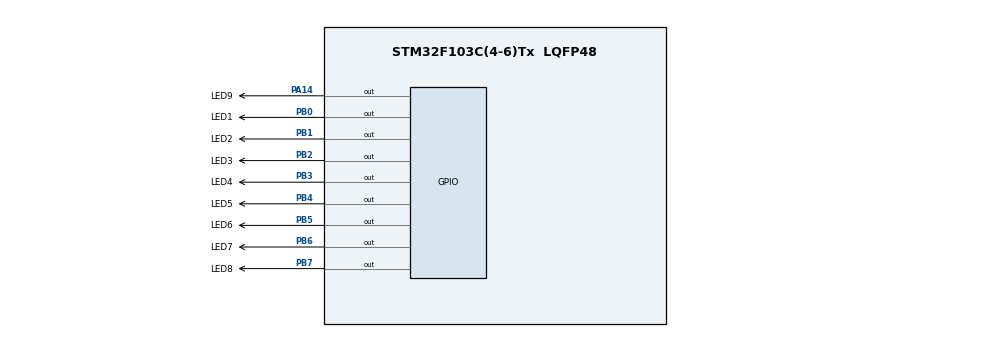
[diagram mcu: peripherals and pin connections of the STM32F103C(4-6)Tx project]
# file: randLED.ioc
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Mcu.Family=STM32F1
Mcu.Name=STM32F103C(4-6)Tx
Mcu.Package=LQFP48
Mcu.UserConstants=LIGHT_TIME,300;MODE_TIME,15000
NVIC.PriorityGroup=NVIC_PRIORITYGROUP_4
NVIC.TIM1_UP_IRQn=true\:0\:0\:false\:false\:true\:true\:true
NVIC.TIM2_IRQn=true\:0\:0\:false\:false\:true\:true\:true
PA14.GPIO_Label=LED9
PA14.PinState=GPIO_PIN_SET
PA14.Signal=GPIO_Output
PB0.GPIO_Label=LED1
PB0.PinState=GPIO_PIN_SET
PB0.Signal=GPIO_Output
PB1.GPIO_Label=LED2
PB1.PinState=GPIO_PIN_SET
PB1.Signal=GPIO_Output
PB2.GPIO_Label=LED3
PB2.PinState=GPIO_PIN_SET
PB2.Signal=GPIO_Output
PB3.GPIO_Label=LED4
PB3.PinState=GPIO_PIN_SET
PB3.Signal=GPIO_Output
PB4.GPIO_Label=LED5
PB4.PinState=GPIO_PIN_SET
PB4.Signal=GPIO_Output
PB5.GPIO_Label=LED6
PB5.PinState=GPIO_PIN_SET
PB5.Signal=GPIO_Output
PB6.GPIO_Label=LED7
PB6.PinState=GPIO_PIN_SET
PB6.Signal=GPIO_Output
PB7.GPIO_Label=LED8
PB7.PinState=GPIO_PIN_SET
PB7.Signal=GPIO_Output
ProjectManager.HeapSize=0x200
ProjectManager.StackSize=0x400
ProjectManager.TargetToolchain=MDK-ARM V5.32
RCC.APB1Freq_Value=8000000
RCC.APB2Freq_Value=8000000
TIM1.Period=LIGHT_TIME
TIM1.Prescaler=8000000/1000+1
TIM2.Period=MODE_TIME
TIM2.Prescaler=8000000/1000+1
VP_SYS_VS_ND.Mode=No_Debug
VP_TIM1_VS_ClockSourceINT.Mode=Internal
VP_TIM2_VS_ClockSourceINT.Mode=Internal
board=custom

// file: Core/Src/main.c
/* USER CODE BEGIN Header */
/**
  ******************************************************************************
  * @file           : main.c
  * @brief          : Main program body
  ******************************************************************************
  * @attention
  *
  * Copyright (c) 2022 STMicroelectronics.
  * All rights reserved.
  *
  * This software is licensed under terms that can be found in the LICENSE file
  * in the root directory of this software component.
  * If no LICENSE file comes with this software, it is provided AS-IS.
  *
  ******************************************************************************
  */
/* USER CODE END Header */
#include "main.h"

/* USER CODE BEGIN Includes */
#include "stdlib.h"

/* USER CODE END Includes */

/* USER CODE BEGIN PTD */
typedef struct
{
	GPIO_TypeDef *Port;
  uint32_t Pin;       /*!< Specifies the GPIO pins to be configured.
                           This parameter can be any value of @ref GPIO_pins_define */
}LED;

/* USER CODE END PTD */

/* USER CODE BEGIN PD */
#define led1 {LED1_GPIO_Port,LED1_Pin}
#define led2 {LED2_GPIO_Port,LED2_Pin}
#define led3  {LED3_GPIO_Port,LED3_Pin}
#define led4  {LED4_GPIO_Port,LED4_Pin}
#define led5  {LED5_GPIO_Port,LED5_Pin}
#define led6  {LED6_GPIO_Port,LED6_Pin}
#define led7  {LED7_GPIO_Port,LED7_Pin}
#define led8  {LED8_GPIO_Port,LED8_Pin}
#define led9  {LED9_GPIO_Port,LED9_Pin}
#define LIGHT_TIME 700

/* USER CODE END PD */

TIM_HandleTypeDef htim1;
TIM_HandleTypeDef htim2;

/* USER CODE BEGIN PV */
//LED led1 = {LED1_GPIO_Port,LED1_Pin};
//LED led2 = {LED2_GPIO_Port,LED2_Pin};
// LED led3 = {LED3_GPIO_Port,LED3_Pin};
// LED led4 = {LED4_GPIO_Port,LED4_Pin};
// LED led5 = {LED5_GPIO_Port,LED5_Pin};
// LED led6 = {LED6_GPIO_Port,LED6_Pin};
// LED led7 = {LED7_GPIO_Port,LED7_Pin};
// LED led8 = {LED8_GPIO_Port,LED8_Pin};
//LED led9 = {LED9_GPIO_Port,LED9_Pin};
// int lightmodelist[3][8]={{1,9,4,5,6,7,1,2},{1,2,2,6,3,9,2,7},{4,5,6,2,8,6,4,5}};

// LED ledlist[] = {led1,led2,led3,led4,led5,led6,led7,led8,led9};
LED ledlist[] = {led1,led2,led3,led4,led5,led6,led7,led8,led9};
int lightmodelist[3][8]={{1,9,4,5,6,7,1,2},{1,2,2,6,3,9,2,7},{4,5,6,2,8,6,4,5}};
int lightmodeindex = 0;
// int mode[] = {1,3,4,6,7,8,9};
int modeindex = 0;
int i=0;
/* USER CODE END PV */

void SystemClock_Config(void);
static void MX_GPIO_Init(void);
static void MX_TIM1_Init(void);
static void MX_TIM2_Init(void);

int main(void)
{

  /* MCU Configuration--------------------------------------------------------*/

  /* Reset of all peripherals, Initializes the Flash interface and the Systick. */
  HAL_Init();

  /* Configure the system clock */
  SystemClock_Config();

  /* Initialize all configured peripherals */
  MX_GPIO_Init();
  MX_TIM1_Init();
  MX_TIM2_Init();
  /* USER CODE BEGIN 2 */
	HAL_TIM_Base_Start_IT(&htim1);
	HAL_TIM_Base_Start_IT(&htim2);

  /* USER CODE END 2 */

  /* Infinite loop */
  /* USER CODE BEGIN WHILE */

	i = rand()%(sizeof(ledlist)/sizeof(ledlist[0]));
  while (1)
  {
		// HAL_GPIO_WritePin(ledlist[i].Port, ledlist[i].Pin, GPIO_PIN_RESET);
		// HAL_Delay(LIGHT_TIME);
		// HAL_GPIO_WritePin(ledlist[i].Port, ledlist[i].Pin, GPIO_PIN_SET);
		// i = rand()%(sizeof(ledlist)/sizeof(ledlist[0]));

    /* USER CODE END WHILE */

  }
}

void SystemClock_Config(void)
{
  RCC_OscInitTypeDef RCC_OscInitStruct = {0};
  RCC_ClkInitTypeDef RCC_ClkInitStruct = {0};

  /** Initializes the RCC Oscillators according to the specified parameters
  * in the RCC_OscInitTypeDef structure.
  */
  RCC_OscInitStruct.OscillatorType = RCC_OSCILLATORTYPE_HSI;
  RCC_OscInitStruct.HSIState = RCC_HSI_ON;
  RCC_OscInitStruct.HSICalibrationValue = RCC_HSICALIBRATION_DEFAULT;
  RCC_OscInitStruct.PLL.PLLState = RCC_PLL_NONE;
  if (HAL_RCC_OscConfig(&RCC_OscInitStruct) != HAL_OK)
  {
    Error_Handler();
  }
  /** Initializes the CPU, AHB and APB buses clocks
  */
  RCC_ClkInitStruct.ClockType = RCC_CLOCKTYPE_HCLK|RCC_CLOCKTYPE_SYSCLK
                              |RCC_CLOCKTYPE_PCLK1|RCC_CLOCKTYPE_PCLK2;
  RCC_ClkInitStruct.SYSCLKSource = RCC_SYSCLKSOURCE_HSI;
  RCC_ClkInitStruct.AHBCLKDivider = RCC_SYSCLK_DIV1;
  RCC_ClkInitStruct.APB1CLKDivider = RCC_HCLK_DIV1;
  RCC_ClkInitStruct.APB2CLKDivider = RCC_HCLK_DIV1;

  if (HAL_RCC_ClockConfig(&RCC_ClkInitStruct, FLASH_LATENCY_0) != HAL_OK)
  {
    Error_Handler();
  }
}

static void MX_TIM1_Init(void)
{

  TIM_ClockConfigTypeDef sClockSourceConfig = {0};
  TIM_MasterConfigTypeDef sMasterConfig = {0};

  htim1.Instance = TIM1;
  htim1.Init.Prescaler = 8000000/1000+1;
  htim1.Init.CounterMode = TIM_COUNTERMODE_UP;
  htim1.Init.Period = LIGHT_TIME;
  htim1.Init.ClockDivision = TIM_CLOCKDIVISION_DIV1;
  htim1.Init.RepetitionCounter = 0;
  htim1.Init.AutoReloadPreload = TIM_AUTORELOAD_PRELOAD_DISABLE;
  if (HAL_TIM_Base_Init(&htim1) != HAL_OK)
  {
    Error_Handler();
  }
  sClockSourceConfig.ClockSource = TIM_CLOCKSOURCE_INTERNAL;
  if (HAL_TIM_ConfigClockSource(&htim1, &sClockSourceConfig) != HAL_OK)
  {
    Error_Handler();
  }
  sMasterConfig.MasterOutputTrigger = TIM_TRGO_RESET;
  sMasterConfig.MasterSlaveMode = TIM_MASTERSLAVEMODE_DISABLE;
  if (HAL_TIMEx_MasterConfigSynchronization(&htim1, &sMasterConfig) != HAL_OK)
  {
    Error_Handler();
  }

}

static void MX_TIM2_Init(void)
{

  TIM_ClockConfigTypeDef sClockSourceConfig = {0};
  TIM_MasterConfigTypeDef sMasterConfig = {0};

  htim2.Instance = TIM2;
  htim2.Init.Prescaler = 8000000/1000+1;
  htim2.Init.CounterMode = TIM_COUNTERMODE_UP;
  htim2.Init.Period = MODE_TIME;
  htim2.Init.ClockDivision = TIM_CLOCKDIVISION_DIV1;
  htim2.Init.AutoReloadPreload = TIM_AUTORELOAD_PRELOAD_DISABLE;
  if (HAL_TIM_Base_Init(&htim2) != HAL_OK)
  {
    Error_Handler();
  }
  sClockSourceConfig.ClockSource = TIM_CLOCKSOURCE_INTERNAL;
  if (HAL_TIM_ConfigClockSource(&htim2, &sClockSourceConfig) != HAL_OK)
  {
    Error_Handler();
  }
  sMasterConfig.MasterOutputTrigger = TIM_TRGO_RESET;
  sMasterConfig.MasterSlaveMode = TIM_MASTERSLAVEMODE_DISABLE;
  if (HAL_TIMEx_MasterConfigSynchronization(&htim2, &sMasterConfig) != HAL_OK)
  {
    Error_Handler();
  }

}

static void MX_GPIO_Init(void)
{
  GPIO_InitTypeDef GPIO_InitStruct = {0};

  /* GPIO Ports Clock Enable */
  __HAL_RCC_GPIOB_CLK_ENABLE();
  __HAL_RCC_GPIOA_CLK_ENABLE();

  /*Configure GPIO pin Output Level */
  HAL_GPIO_WritePin(GPIOB, LED1_Pin|LED2_Pin|LED3_Pin|LED4_Pin
                          |LED5_Pin|LED6_Pin|LED7_Pin|LED8_Pin, GPIO_PIN_SET);

  /*Configure GPIO pin Output Level */
  HAL_GPIO_WritePin(LED9_GPIO_Port, LED9_Pin, GPIO_PIN_SET);

  /*Configure GPIO pins : LED1_Pin LED2_Pin LED3_Pin LED4_Pin
                           LED5_Pin LED6_Pin LED7_Pin LED8_Pin */
  GPIO_InitStruct.Pin = LED1_Pin|LED2_Pin|LED3_Pin|LED4_Pin
                          |LED5_Pin|LED6_Pin|LED7_Pin|LED8_Pin;
  GPIO_InitStruct.Mode = GPIO_MODE_OUTPUT_PP;
  GPIO_InitStruct.Pull = GPIO_NOPULL;
  GPIO_InitStruct.Speed = GPIO_SPEED_FREQ_LOW;
  HAL_GPIO_Init(GPIOB, &GPIO_InitStruct);

  /*Configure GPIO pin : LED9_Pin */
  GPIO_InitStruct.Pin = LED9_Pin;
  GPIO_InitStruct.Mode = GPIO_MODE_OUTPUT_PP;
  GPIO_InitStruct.Pull = GPIO_NOPULL;
  GPIO_InitStruct.Speed = GPIO_SPEED_FREQ_LOW;
  HAL_GPIO_Init(LED9_GPIO_Port, &GPIO_InitStruct);

}

/* USER CODE BEGIN 4 */
void HAL_TIM_PeriodElapsedCallback(TIM_HandleTypeDef *htim){
	if(htim==&htim1){
		HAL_GPIO_WritePin(ledlist[i].Port, ledlist[i].Pin, GPIO_PIN_SET);
		modeindex = (modeindex+1)%(sizeof(lightmodelist[lightmodeindex])/sizeof(lightmodelist[lightmodeindex][0]));
		i = lightmodelist[lightmodeindex][modeindex]-1;
		HAL_GPIO_WritePin(ledlist[i].Port, ledlist[i].Pin, GPIO_PIN_RESET);
	}
	if(htim==&htim2){
		lightmodeindex = (lightmodeindex + 1)%(sizeof(lightmodelist)/sizeof(lightmodelist[0]));
		modeindex = 0;
	}
}

/* USER CODE END 4 */

void Error_Handler(void)
{
  __disable_irq();
  while (1)
  {
  }
}
